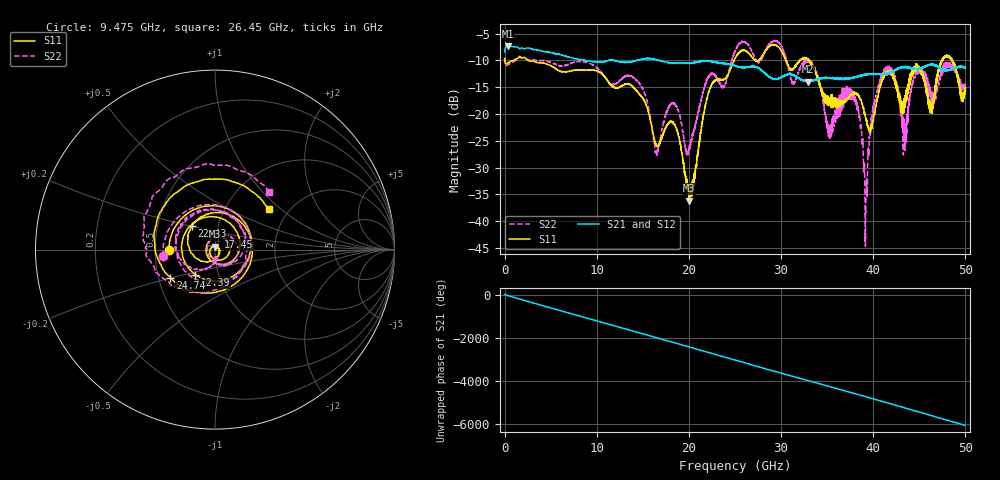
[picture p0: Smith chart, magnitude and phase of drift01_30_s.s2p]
!Created with skrf (http://scikit-rf.org).
# Hz S RI R 50.0
!freq ReS11 ImS11 ReS21 ImS21 ReS12 ImS12 ReS22 ImS22
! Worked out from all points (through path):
!   10001 points, 300 kHz to 50 GHz, reference 50 ohm
!   highest |S21| = -7.33 dB at 335.3 MHz (marker M1); lowest = -14.0 dB at 32.91 GHz (marker M2)
!   group delay of S21, straight-line fit = 335 ps
!   lowest |S11| = -36.2 dB at 20.01 GHz (marker M3), VSWR 1.03, Z = 49.8 + j1.54 ohm
!   |S11| at or under -10 dB: 2.554 GHz to 24.9 GHz (22.35 GHz wide, 163 % of centre); 30.51 GHz to 32.01 GHz (1.507 GHz wide, 4.82 % of centre); 33.05 GHz to 47.44 GHz (14.39 GHz wide, 35.8 % of centre) (the widest 3 of 24)
!   |S22| runs from -44.7 to -6.3 dB; largest |S21 - S12| = 0.0076
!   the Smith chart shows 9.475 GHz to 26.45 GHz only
!   S11 on the Smith chart (normalised r, x): 9.475 GHz: 0.59, -0.00; 12.39 GHz: 0.78, -0.22; 17.45 GHz: 1.02, +0.15; 22.43 GHz: 0.75, +0.21; 24.74 GHz: 0.58, -0.20; 26.45 GHz: 1.59, +0.83
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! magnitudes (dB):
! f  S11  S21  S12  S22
! 300 kHz  -9.6  -8.4  -8.5  -9.5
! 335.3 MHz  -10.5  -7.3  -7.3  -10.8
! 8.335 GHz  -11.8  -9.8  -9.8  -10.2
! 9.475 GHz  -11.8  -10.2  -10.2  -10.7
! 12.39 GHz  -15.0  -10.2  -10.2  -13.9
! 16.67 GHz  -26.1  -10.0  -10.0  -26.9
! 17.45 GHz  -22.7  -10.3  -10.3  -20.6
! 20.01 GHz  -36.2  -10.5  -10.5  -26.7
! 22.43 GHz  -14.6  -10.2  -10.2  -12.5
! 24.74 GHz  -10.6  -10.9  -10.9  -9.5
! 25 GHz  -9.6  -11.0  -11.0  -8.3
! 26.45 GHz  -8.6  -11.2  -11.2  -7.1
! 32.91 GHz  -10.0  -14.0  -13.9  -10.2
! 33.34 GHz  -10.8  -13.8  -13.8  -10.6
! 35.25 GHz  -17.3  -13.3  -13.3  -23.1
! 37.98 GHz  -15.9  -13.1  -13.2  -16.8
! 39.17 GHz  -20.6  -12.7  -12.6  -40.5
! 40.16 GHz  -19.7  -12.5  -12.5  -17.7
! 41.67 GHz  -12.1  -12.3  -12.4  -11.8
! 43.43 GHz  -17.6  -11.3  -11.3  -26.8
! 44.86 GHz  -11.3  -11.6  -11.5  -11.7
! 50 GHz  -15.6  -11.4  -11.4  -15.0
